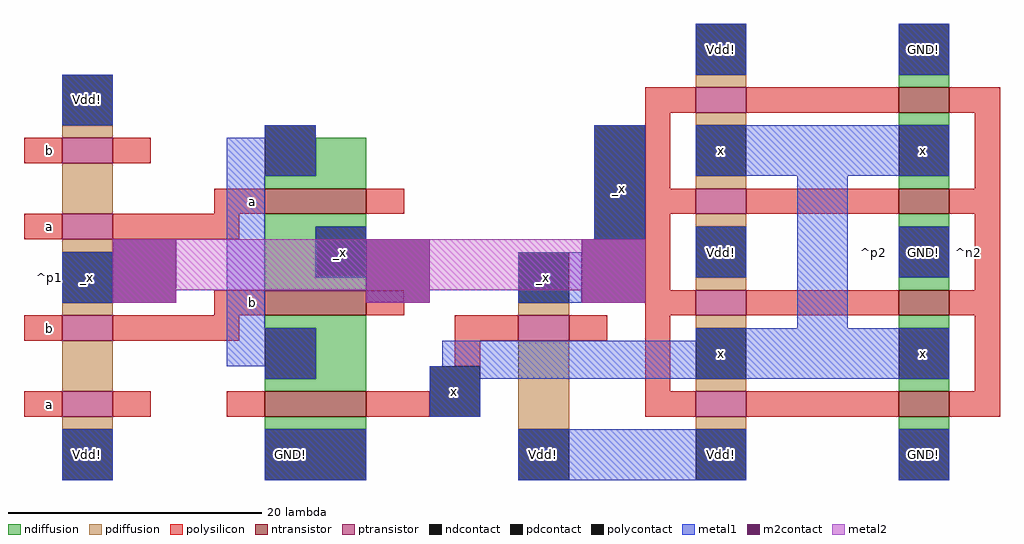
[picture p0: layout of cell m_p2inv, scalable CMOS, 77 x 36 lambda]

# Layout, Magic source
magic
tech scmos
<< ndiffusion >>
rect 166 98 170 99
rect 120 91 124 94
rect 116 90 124 91
rect 116 87 124 88
rect 116 83 120 87
rect 166 95 170 96
rect 166 90 170 91
rect 116 82 124 83
rect 166 87 170 88
rect 166 82 170 83
rect 116 79 124 80
rect 120 75 124 79
rect 116 74 124 75
rect 116 71 124 72
rect 166 79 170 80
rect 166 74 170 75
rect 166 71 170 72
<< pdiffusion >>
rect 150 98 154 99
rect 100 94 104 95
rect 100 88 104 92
rect 100 85 104 86
rect 150 95 154 96
rect 150 90 154 91
rect 100 80 104 81
rect 136 80 140 81
rect 150 87 154 88
rect 150 82 154 83
rect 100 74 104 78
rect 100 71 104 72
rect 136 71 140 78
rect 150 79 154 80
rect 150 74 154 75
rect 150 71 154 72
<< ntransistor >>
rect 166 96 170 98
rect 116 88 124 90
rect 166 88 170 90
rect 116 80 124 82
rect 166 80 170 82
rect 116 72 124 74
rect 166 72 170 74
<< ptransistor >>
rect 150 96 154 98
rect 100 92 104 94
rect 100 86 104 88
rect 150 88 154 90
rect 150 80 154 82
rect 100 78 104 80
rect 136 78 140 80
rect 100 72 104 74
rect 150 72 154 74
<< polysilicon >>
rect 146 96 150 98
rect 154 96 166 98
rect 170 96 174 98
rect 97 92 100 94
rect 104 92 107 94
rect 112 88 116 90
rect 124 88 127 90
rect 97 86 100 88
rect 104 86 114 88
rect 146 90 148 96
rect 172 90 174 96
rect 146 88 150 90
rect 154 88 166 90
rect 170 88 174 90
rect 112 80 116 82
rect 124 80 127 82
rect 146 82 148 88
rect 172 82 174 88
rect 146 80 150 82
rect 154 80 166 82
rect 170 80 174 82
rect 97 78 100 80
rect 104 78 114 80
rect 131 78 136 80
rect 140 78 143 80
rect 131 76 133 78
rect 97 72 100 74
rect 104 72 107 74
rect 113 72 116 74
rect 124 72 129 74
rect 146 74 148 80
rect 172 74 174 80
rect 146 72 150 74
rect 154 72 166 74
rect 170 72 174 74
<< ndcontact >>
rect 166 99 170 103
rect 116 91 120 95
rect 120 83 124 87
rect 166 91 170 95
rect 166 83 170 87
rect 116 75 120 79
rect 116 67 124 71
rect 166 75 170 79
rect 166 67 170 71
<< pdcontact >>
rect 150 99 154 103
rect 100 95 104 99
rect 100 81 104 85
rect 150 91 154 95
rect 136 81 140 85
rect 150 83 154 87
rect 100 67 104 71
rect 150 75 154 79
rect 136 67 140 71
rect 150 67 154 71
<< polycontact >>
rect 142 86 146 95
rect 129 72 133 76
<< metal1 >>
rect 150 99 154 103
rect 166 99 170 103
rect 100 95 104 99
rect 116 94 120 95
rect 113 91 120 94
rect 100 81 104 85
rect 113 79 116 91
rect 120 83 124 87
rect 142 86 146 95
rect 150 91 170 95
rect 136 81 141 85
rect 150 83 154 87
rect 158 79 162 91
rect 166 83 170 87
rect 113 76 120 79
rect 150 78 170 79
rect 130 76 170 78
rect 116 75 120 76
rect 129 75 170 76
rect 129 72 133 75
rect 100 67 104 71
rect 116 67 124 71
rect 136 67 154 71
rect 166 67 170 71
<< m2contact >>
rect 104 81 109 86
rect 124 81 129 86
rect 141 81 146 86
<< metal2 >>
rect 104 82 146 86
rect 104 81 109 82
rect 124 81 129 82
rect 141 81 146 82
<< labels >>
rlabel space 169 66 174 104 3 ^n2
rlabel space 153 65 175 105 3 ^p2
rlabel polysilicon 99 93 99 93 3 b
rlabel space 97 66 101 100 7 ^p1
rlabel polysilicon 99 87 99 87 3 a
rlabel polysilicon 99 79 99 79 3 b
rlabel polysilicon 99 73 99 73 3 a
rlabel polysilicon 115 81 115 81 3 b
rlabel polysilicon 115 89 115 89 1 a
rlabel pdcontact 152 101 152 101 5 Vdd!
rlabel pdcontact 152 93 152 93 1 x
rlabel pdcontact 152 85 152 85 5 Vdd!
rlabel pdcontact 152 77 152 77 1 x
rlabel pdcontact 152 69 152 69 1 Vdd!
rlabel ndcontact 168 93 168 93 1 x
rlabel ndcontact 168 101 168 101 5 GND!
rlabel ndcontact 168 77 168 77 1 x
rlabel ndcontact 168 85 168 85 5 GND!
rlabel ndcontact 168 69 168 69 1 GND!
rlabel pdcontact 102 97 102 97 5 Vdd!
rlabel pdcontact 138 83 138 83 6 _x
rlabel pdcontact 102 83 102 83 1 _x
rlabel ndcontact 118 69 118 69 1 GND!
rlabel pdcontact 102 69 102 69 1 Vdd!
rlabel polycontact 131 74 131 74 1 x
rlabel ndcontact 122 85 122 85 5 _x
rlabel polycontact 144 90 144 90 5 _x
rlabel metal1 138 69 138 69 1 Vdd!
<< end >>
